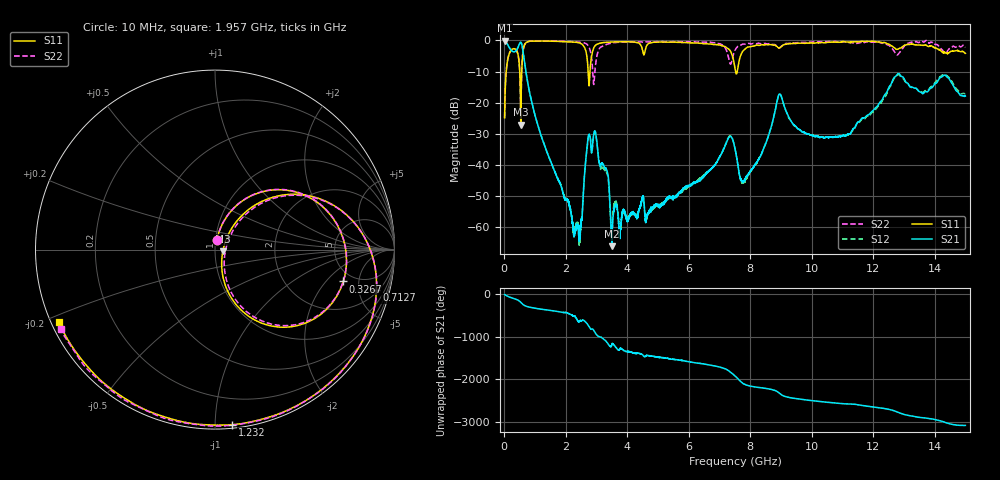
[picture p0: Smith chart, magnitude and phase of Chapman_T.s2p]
!	Fieldfox Controller
!	Chapman University - Class ENG398
!	Introduction to RF - DMG (2024)
!Created with skrf (http://scikit-rf.org).
# Hz S RI R 50.0
!freq ReS11 ImS11 ReS21 ImS21 ReS12 ImS12 ReS22 ImS22
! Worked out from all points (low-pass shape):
!   8001 points, 10 MHz to 15 GHz, reference 50 ohm
!   highest |S21| = -0.07 dB at 10 MHz (marker M1); lowest = -66.1 dB at 3.501 GHz (marker M2)
!   |S21| within 3 dB of the highest: start of sweep to 217.7 MHz; 399.6 MHz to 602.7 MHz (203.1 MHz wide, 40.5 % of centre)
!   lowest |S11| = -27.0 dB at 536.5 MHz (marker M3), VSWR 1.09, Z = 54.5 - j0.992 ohm
!   |S11| at or under -10 dB: 502 MHz to 566 MHz (63.94 MHz wide, 12 % of centre); 2.728 GHz to 2.787 GHz (58.52 MHz wide, 2.12 % of centre); 7.523 GHz to 7.578 GHz (55.47 MHz wide, 0.735 % of centre)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
!   |S22| runs from -24.8 to 0.0 dB; largest |S21 - S12| = 0.023
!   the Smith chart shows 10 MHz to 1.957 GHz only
!   S11 on the Smith chart (normalised r, x): 10 MHz: 1.02, +0.11; 326.7 MHz: 4.06, -3.14; 712.7 MHz: 2.29, -7.40; 1.232 GHz: 0.02, -1.10; 1.957 GHz: 0.02, -0.22
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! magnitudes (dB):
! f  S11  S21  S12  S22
! 10 MHz  -24.8  -0.1  -0.1  -24.8
! 129.9 MHz  -5.3  -1.7  -1.7  -5.2
! 326.7 MHz  -2.7  -3.7  -3.7  -2.7
! 536.5 MHz  -27.0  -0.6  -0.6  -24.7
! 712.7 MHz  -0.7  -10.6  -10.6  -0.7
! 1.232 GHz  -0.2  -31.5  -31.5  -0.1
! 1.957 GHz  -0.4  -50.6  -50.5  -0.3
! 2.279 GHz  -0.6  -62.8  -61.9  -0.4
! 2.51 GHz  -1.1  -57.5  -57.0  -0.6
! 2.71 GHz  -7.3  -32.3  -32.9  -1.4
! 2.948 GHz  -1.7  -29.0  -29.4  -9.7
! 3.342 GHz  -0.6  -41.8  -42.7  -1.2
! 3.501 GHz  -0.5  -66.1  -62.1  -0.8
! 5.007 GHz  -0.5  -53.4  -53.1  -0.4
! 7.505 GHz  -9.0  -34.7  -34.7  -3.1
! 7.829 GHz  -2.8  -44.6  -45.3  -1.2
! 8.959 GHz  -2.4  -17.2  -17.3  -2.3
! 10 GHz  -0.8  -30.5  -30.4  -0.5
! 11.21 GHz  -0.5  -30.0  -30.3  -0.7
! 12.5 GHz  -1.2  -15.3  -15.6  -1.5
! 14.33 GHz  -3.9  -11.1  -10.9  -3.9
! 15 GHz  -4.2  -17.9  -17.2  -2.2
